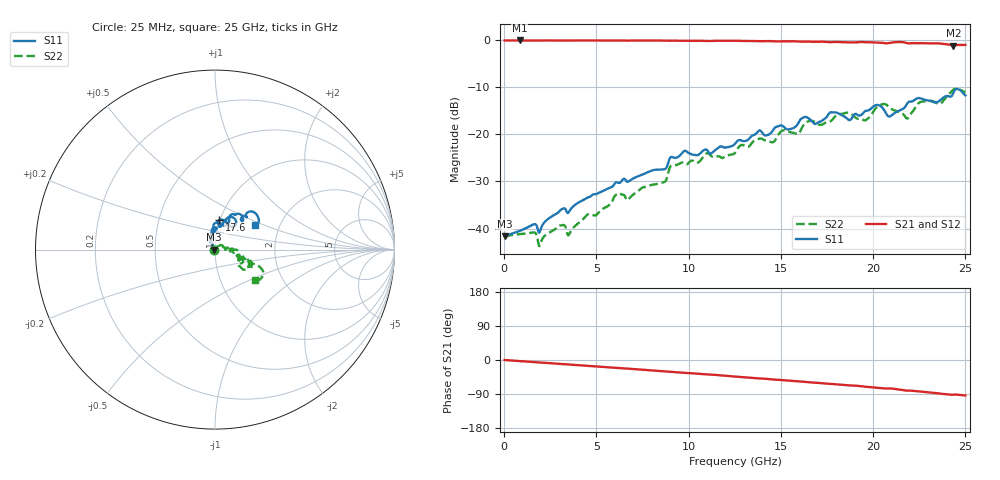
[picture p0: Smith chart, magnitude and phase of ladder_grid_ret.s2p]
! RG_ts6_sw_pwr: kisi's ladder with the plane pairs as finite cavities (grid) (Finite board 24 × 16 mm, ThunderScope stack, via F → In3 (stub to B) through In1 GND / In2 PWR / In4 GND, four GND vias at 1 mm joined to In1 and In4 (openings in In2))
# Hz S RI R 50
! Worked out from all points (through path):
!   1000 points, 25 MHz to 25 GHz, reference 50 ohm
!   highest |S21| = -0.08 dB at 850 MHz (marker M1); lowest = -1.2 dB at 24.35 GHz (marker M2)
!   group delay of S21, straight-line fit = 10.3 ps
!   lowest |S11| = -41.6 dB at 25 MHz (marker M3), VSWR 1.02, Z = 49.2 + j0.00414 ohm
!   |S11| at or under -10 dB: start of sweep to end of sweep
!   |S22| runs from -43.7 to -10.3 dB; largest |S21 - S12| = 0
!   S11 on the Smith chart (normalised r, x): 25 MHz: 0.98, +0.00; 17.6 GHz: 0.99, +0.34; 25 GHz: 1.49, +0.43
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2.5e7  -0.00832 4.21e-05  0.9907 -0.00142  0.9907 -0.00142  -0.00818 3.82e-05
8.5e8  -0.00892 0.00315  0.9899 -0.0499  0.9899 -0.0499  -0.0082 0.00298
1.625e9  -0.00864 0.00701  0.9859 -0.0963  0.9859 -0.0963  -0.00637 0.00652
1.95e9  -0.00767 0.00559  0.9828 -0.1126  0.9828 -0.1126  -0.00469 0.00485
4.2e9  -0.0118 0.0158  0.9602 -0.2441  0.9602 -0.2441  0.00145 0.0121
6.125e9  -0.0148 0.0272  0.9233 -0.3538  0.9233 -0.3538  0.0156 0.0173
6.725e9  -0.0137 0.0284  0.911 -0.3832  0.911 -0.3832  0.0161 0.0124
8.35e9  -0.0172 0.0385  0.8674 -0.4757  0.8674 -0.4757  0.0264 0.0147
9.125e9  -0.0241 0.052  0.841 -0.5154  0.841 -0.5154  0.0414 0.0219
1.2525e10  -0.0214 0.0771  0.7083 -0.6792  0.7083 -0.6792  0.0634 0.00964
1.59e10  -0.00848 0.127  0.5314 -0.8075  0.5314 -0.8075  0.1002 -0.0104
1.6675e10  0.0353 0.1332  0.4893 -0.8265  0.4893 -0.8265  0.1355 -0.0317
1.76e10  0.0242 0.164  0.4314 -0.8467  0.4314 -0.8467  0.1327 -0.0304
1.8575e10  0.0617 0.1341  0.3749 -0.8675  0.3749 -0.8675  0.1563 -0.0666
1.96e10  0.061 0.167  0.3146 -0.8947  0.3146 -0.8947  0.1324 -0.0495
2.0225e10  0.1025 0.1779  0.2698 -0.9046  0.2698 -0.9046  0.186 -0.0619
2.085e10  0.0875 0.1274  0.2448 -0.8969  0.2448 -0.8969  0.1606 -0.1119
2.185e10  0.0877 0.194  0.1448 -0.9152  0.1448 -0.9152  0.1313 -0.0658
2.2525e10  0.1492 0.1906  0.1122 -0.921  0.1122 -0.921  0.2046 -0.0758
2.3625e10  0.146 0.1763  0.0209 -0.9195  0.0209 -0.9195  0.1914 -0.0881
2.435e10  0.1823 0.2079  -0.0206 -0.8727  -0.0206 -0.8727  0.2695 -0.1286
2.5e10  0.2203 0.1357  -0.0557 -0.8872  -0.0557 -0.8872  0.2236 -0.1688
